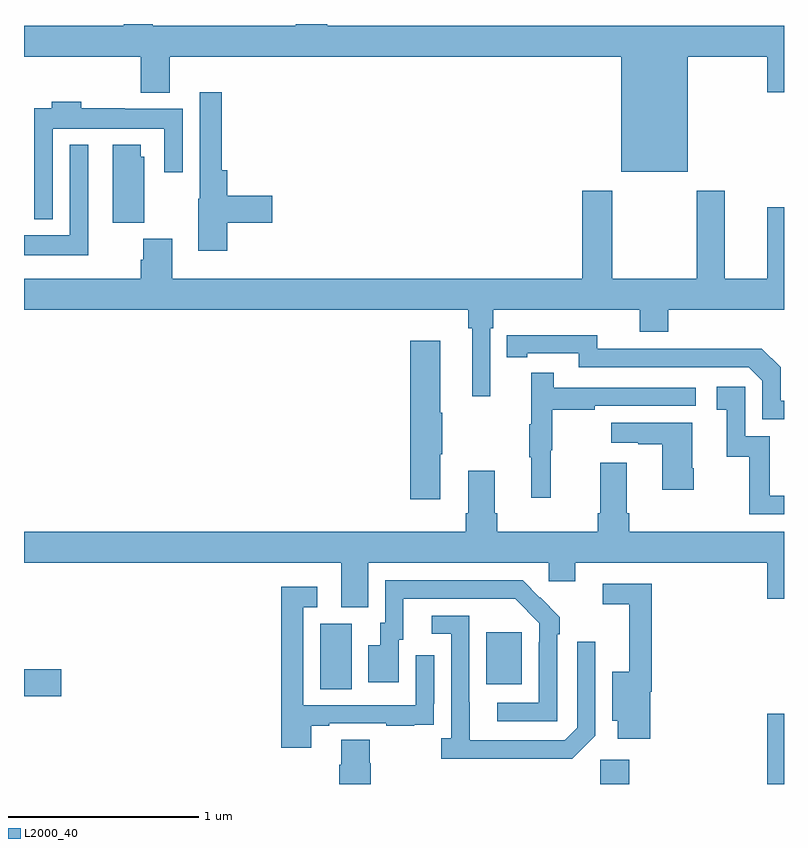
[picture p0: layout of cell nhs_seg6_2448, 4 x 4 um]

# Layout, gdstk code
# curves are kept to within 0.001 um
import gdstk
lib = gdstk.Library(unit=1e-6, precision=1e-09)
def R(c, l, rs):  # rectangles x0, y0, x1, y1
    for r in rs: c.add(gdstk.rectangle(r[:2], r[2:], *l))
def P(c, l, *ps):  # polygons
    for p in ps: c.add(gdstk.Polygon(p, *l))
L2000_40 = (2000, 40)

nhs_seg6_2448 = lib.new_cell('nhs_seg6_2448')
R(nhs_seg6_2448, L2000_40, [(260.034,951.5,260.186,951.628), (260.912,951.5,261,951.871), (257,951.961,257.197,952.103), (258.56,952,258.724,952.344), (259.433,952.025,259.621,952.3)])
P(nhs_seg6_2448, L2000_40, [(260.494,955.328),(260.912,955.328),(260.912,955.14),(261,955.14),(261,955.492),(258.596,955.492),(258.596,955.5),(258.431,955.5),(258.431,955.492),(257.678,955.492),(257.678,955.5),(257.525,955.5),(257.525,955.492),(257,955.492),(257,955.328),(257.615,955.328),(257.615,955.139),(257.767,955.139),(257.767,955.328),(260.144,955.328),(260.144,954.722),(260.494,954.722)],
  [(258.071,954.454),(258.307,954.454),(258.307,954.596),(258.071,954.596),(258.071,954.73),(258.041,954.73),(258.041,955.141),(257.925,955.141),(257.925,954.579),(257.918,954.579),(257.918,954.306),(258.071,954.306)],
  [(257.151,954.95),(257.739,954.95),(257.739,954.72),(257.835,954.72),(257.835,955.054),(257.531,955.054),(257.531,955.057),(257.3,955.057),(257.3,955.09),(257.147,955.09),(257.147,955.057),(257.055,955.057),(257.055,954.473),(257.151,954.473)],
  [(257.632,954.801),(257.614,954.801),(257.614,954.865),(257.468,954.865),(257.468,954.454),(257.632,954.454)],
  [(257.338,954.865),(257.241,954.865),(257.241,954.388),(257,954.388),(257,954.284),(257.338,954.284)],
  [(259.455,953.9),(259.469,953.9),(259.469,953.996),(260.24,953.996),(260.24,953.879),(260.392,953.879),(260.392,953.996),(261,953.996),(261,954.535),(260.912,954.535),(260.912,954.16),(260.689,954.16),(260.689,954.622),(260.541,954.622),(260.541,954.16),(260.097,954.16),(260.097,954.622),(259.937,954.622),(259.937,954.16),(257.779,954.16),(257.779,954.369),(257.627,954.369),(257.627,954.26),(257.615,954.26),(257.615,954.16),(257,954.16),(257,953.996),(259.339,953.996),(259.339,953.9),(259.358,953.9),(259.358,953.541),(259.455,953.541)],
  [(261,953.517),(260.982,953.517),(260.982,953.694),(260.884,953.792),(260.476,953.792),(260.476,953.79),(260.016,953.79),(260.016,953.863),(259.54,953.862),(259.54,953.746),(259.648,953.746),(259.648,953.766),(259.92,953.766),(259.92,953.694),(260.814,953.694),(260.886,953.622),(260.886,953.421),(261,953.421)],
  [(259.192,953.236),(259.2,953.236),(259.2,953.453),(259.192,953.453),(259.192,953.833),(259.034,953.833),(259.034,952.998),(259.192,952.998)],
  [(259.772,953.256),(259.779,953.256),(259.779,953.47),(260.003,953.47),(260.003,953.49),(260.536,953.49),(260.536,953.586),(259.787,953.586),(259.787,953.665),(259.67,953.665),(259.67,953.393),(259.659,953.393),(259.659,953.219),(259.67,953.219),(259.67,953.007),(259.772,953.007)],
  [(261,953.016),(260.925,953.016),(260.925,953.331),(260.796,953.331),(260.796,953.59),(260.646,953.59),(260.646,953.469),(260.699,953.469),(260.699,953.223),(260.817,953.223),(260.817,952.92),(261,952.92)],
  [(260.526,953.161),(260.518,953.161),(260.518,953.401),(260.091,953.401),(260.091,953.297),(260.234,953.297),(260.234,953.287),(260.36,953.287),(260.36,953.049),(260.526,953.049)],
  [(258.811,952.664),(259.761,952.664),(259.761,952.566),(259.9,952.566),(259.9,952.664),(260.912,952.664),(260.912,952.476),(261,952.476),(261,952.828),(260.186,952.828),(260.186,952.924),(260.173,952.924),(260.173,953.191),(260.033,953.191),(260.033,952.924),(260.021,952.924),(260.021,952.828),(259.49,952.828),(259.49,952.924),(259.477,952.924),(259.477,953.149),(259.337,953.149),(259.337,952.924),(259.325,952.924),(259.325,952.828),(257,952.828),(257,952.664),(258.671,952.664),(258.671,952.429),(258.811,952.429)],
  [(259.806,952.289),(259.821,952.289),(259.821,952.377),(259.624,952.572),(258.9,952.572),(258.9,952.35),(258.875,952.35),(258.875,952.231),(258.812,952.231),(258.812,952.035),(258.973,952.035),(258.973,952.26),(258.997,952.26),(258.997,952.476),(259.585,952.476),(259.713,952.347),(259.713,952.247),(259.71,952.247),(259.71,951.927),(259.491,951.927),(259.491,951.831),(259.806,951.831)],
  [(260.297,951.986),(260.303,951.986),(260.303,952.554),(260.046,952.554),(260.046,952.446),(260.186,952.446),(260.186,952.09),(260.096,952.09),(260.096,951.833),(260.126,951.833),(260.126,951.738),(260.297,951.738)],
  [(258.511,951.807),(258.607,951.807),(258.607,951.819),(258.907,951.819),(258.907,951.807),(259.055,951.807),(259.055,951.813),(259.157,951.813),(259.157,951.922),(259.158,951.922),(259.158,952.177),(259.062,952.177),(259.062,951.915),(258.471,951.915),(258.471,952.431),(258.544,952.431),(258.544,952.537),(258.355,952.537),(258.355,951.69),(258.511,951.69)],
  [(260.007,951.753),(260.007,952.249),(259.911,952.249),(259.911,951.795),(259.845,951.729),(259.345,951.729),(259.344,952.386),(259.146,952.386),(259.146,952.29),(259.248,952.29),(259.248,951.742),(259.197,951.742),(259.197,951.632),(259.886,951.632)],
  [(258.824,951.609),(258.819,951.609),(258.819,951.734),(258.671,951.734),(258.671,951.602),(258.659,951.602),(258.659,951.5),(258.824,951.5)])

lib.write_gds('nhs_seg6_2448.gds')
